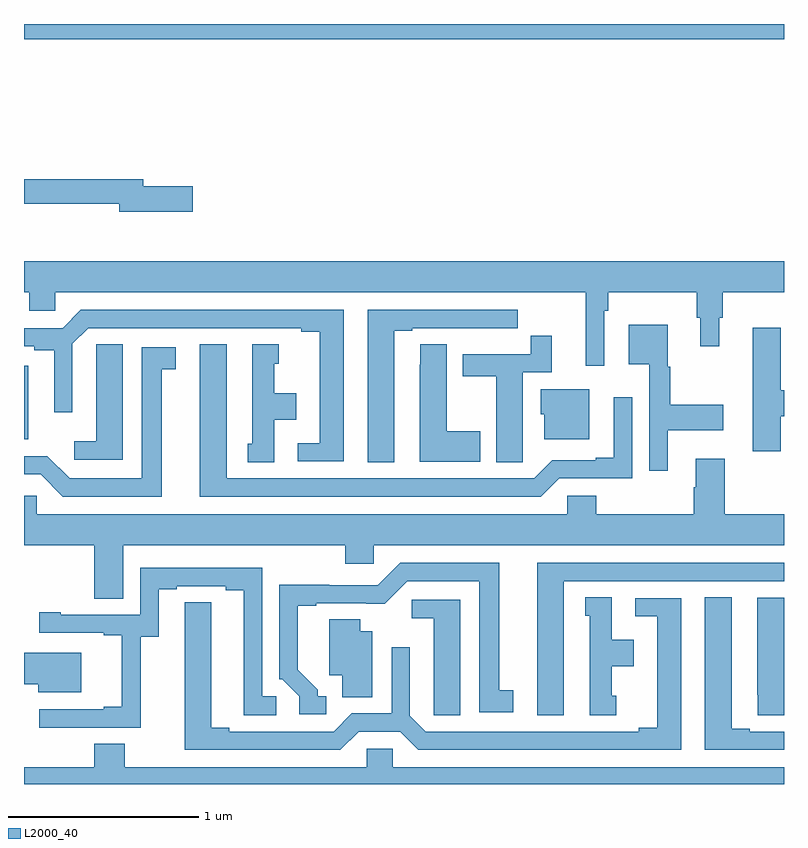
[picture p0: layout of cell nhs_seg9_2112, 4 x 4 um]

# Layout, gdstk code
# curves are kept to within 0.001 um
import gdstk
lib = gdstk.Library(unit=1e-6, precision=1e-09)
def R(c, l, rs):  # rectangles x0, y0, x1, y1
    for r in rs: c.add(gdstk.rectangle(r[:2], r[2:], *l))
def P(c, l, *ps):  # polygons
    for p in ps: c.add(gdstk.Polygon(p, *l))
L2000_40 = (2000, 40)

nhs_seg9_2112 = lib.new_cell('nhs_seg9_2112')
R(nhs_seg9_2112, L2000_40, [(231,1194.314,231.022,1194.702), (231,1196.42,235,1196.5)])
P(nhs_seg9_2112, L2000_40, [(231.889,1195.646),(231.628,1195.646),(231.628,1195.682),(231,1195.682),(231,1195.554),(231.5,1195.554),(231.5,1195.511),(231.889,1195.511)],
  [(231,1195.088),(231.027,1195.088),(231.027,1194.99),(231.165,1194.99),(231.165,1195.088),(233.957,1195.088),(233.957,1194.702),(234.054,1194.702),(234.054,1194.992),(234.074,1194.992),(234.074,1195.088),(234.541,1195.088),(234.541,1194.954),(234.56,1194.954),(234.56,1194.804),(234.658,1194.804),(234.658,1194.954),(234.677,1194.954),(234.677,1195.088),(235,1195.088),(235,1195.252),(231,1195.252)],
  [(232.684,1194.996),(231.299,1194.996),(231.203,1194.9),(231,1194.9),(231,1194.804),(231.054,1194.804),(231.054,1194.784),(231.158,1194.784),(231.158,1194.456),(231.255,1194.456),(231.255,1194.816),(231.339,1194.9),(232.46,1194.9),(232.46,1194.88),(232.556,1194.88),(232.556,1194.294),(232.44,1194.294),(232.44,1194.198),(232.684,1194.198)],
  [(232.948,1194.885),(233.044,1194.885),(233.044,1194.9),(233.32,1194.9),(233.32,1194.899),(233.486,1194.899),(233.486,1194.9),(233.599,1194.9),(233.599,1194.996),(232.808,1194.996),(232.808,1194.193),(232.948,1194.193)],
  [(234.388,1194.362),(234.679,1194.362),(234.679,1194.497),(234.4,1194.497),(234.4,1194.696),(234.388,1194.696),(234.388,1194.916),(234.182,1194.916),(234.182,1194.71),(234.291,1194.71),(234.291,1194.15),(234.388,1194.15)],
  [(234.983,1194.436),(235,1194.436),(235,1194.572),(234.983,1194.572),(234.983,1194.901),(234.836,1194.901),(234.836,1194.252),(234.983,1194.252)],
  [(233.625,1194.304),(233.626,1194.304),(233.626,1194.666),(233.777,1194.666),(233.777,1194.859),(233.668,1194.859),(233.668,1194.762),(233.309,1194.762),(233.309,1194.646),(233.486,1194.646),(233.486,1194.193),(233.625,1194.193)],
  [(233.401,1194.357),(233.224,1194.357),(233.224,1194.815),(233.085,1194.815),(233.085,1194.707),(233.084,1194.707),(233.084,1194.197),(233.401,1194.197)],
  [(231.52,1194.815),(231.381,1194.815),(231.381,1194.707),(231.38,1194.707),(231.38,1194.304),(231.264,1194.304),(231.264,1194.207),(231.52,1194.207)],
  [(233.817,1194.108),(234.201,1194.108),(234.201,1194.535),(234.104,1194.535),(234.104,1194.217),(234.008,1194.217),(234.008,1194.204),(233.781,1194.204),(233.685,1194.108),(232.066,1194.108),(232.066,1194.814),(231.926,1194.814),(231.926,1194.012),(233.721,1194.012)],
  [(232.318,1194.416),(232.432,1194.416),(232.432,1194.556),(232.318,1194.556),(232.318,1194.711),(232.342,1194.711),(232.342,1194.814),(232.202,1194.814),(232.202,1194.291),(232.178,1194.291),(232.178,1194.193),(232.318,1194.193)],
  [(231.724,1194.682),(231.799,1194.682),(231.799,1194.798),(231.62,1194.798),(231.62,1194.108),(231.24,1194.108),(231.123,1194.225),(231,1194.225),(231,1194.129),(231.087,1194.129),(231.204,1194.012),(231.724,1194.012)],
  [(233.974,1194.577),(233.72,1194.577),(233.72,1194.447),(233.738,1194.447),(233.738,1194.314),(233.974,1194.314)],
  [(235,1193.92),(234.689,1193.92),(234.689,1194.211),(234.536,1194.211),(234.536,1194.062),(234.524,1194.062),(234.524,1193.92),(234.011,1193.92),(234.011,1194.018),(233.859,1194.018),(233.859,1193.92),(231.066,1193.92),(231.066,1194.018),(231,1194.018),(231,1193.756),(231.371,1193.756),(231.371,1193.476),(231.523,1193.476),(231.523,1193.756),(232.691,1193.756),(232.691,1193.658),(232.842,1193.658),(232.842,1193.756),(235,1193.756)],
  [(233.842,1193.568),(235,1193.568),(235,1193.664),(233.702,1193.664),(233.702,1192.863),(233.842,1192.863)],
  [(232.591,1192.962),(232.546,1192.962),(232.546,1192.997),(232.441,1193.102),(232.441,1193.439),(232.537,1193.439),(232.537,1193.451),(232.898,1193.45),(233.016,1193.568),(233.396,1193.568),(233.396,1192.878),(233.575,1192.878),(233.575,1192.994),(233.5,1192.994),(233.5,1193.664),(232.98,1193.664),(232.863,1193.547),(232.607,1193.547),(232.607,1193.549),(232.344,1193.549),(232.344,1193.052),(232.359,1193.052),(232.449,1192.962),(232.449,1192.866),(232.591,1192.866)],
  [(231.615,1193.275),(231.709,1193.275),(231.709,1193.526),(231.805,1193.526),(231.805,1193.541),(232.061,1193.541),(232.061,1193.521),(232.157,1193.521),(232.157,1192.861),(232.327,1192.861),(232.327,1192.962),(232.254,1192.962),(232.254,1193.637),(231.612,1193.637),(231.612,1193.391),(231.193,1193.391),(231.193,1193.404),(231.081,1193.404),(231.081,1193.295),(231.419,1193.295),(231.419,1193.283),(231.515,1193.283),(231.515,1192.906),(231.419,1192.906),(231.419,1192.893),(231.081,1192.893),(231.081,1192.797),(231.615,1192.797)],
  [(235,1192.776),(234.82,1192.776),(234.82,1192.791),(234.724,1192.791),(234.724,1193.483),(234.584,1193.483),(234.584,1192.68),(235,1192.68)],
  [(234.118,1192.965),(234.094,1192.965),(234.094,1193.12),(234.208,1193.12),(234.208,1193.26),(234.094,1193.26),(234.094,1193.483),(233.954,1193.483),(233.954,1193.385),(233.978,1193.385),(233.978,1192.863),(234.118,1192.863)],
  [(235,1193.479),(234.86,1193.479),(234.86,1192.969),(234.861,1192.969),(234.861,1192.861),(235,1192.861)],
  [(232.761,1192.776),(232.979,1192.776),(233.075,1192.68),(234.46,1192.68),(234.46,1193.478),(234.216,1193.478),(234.216,1193.382),(234.332,1193.382),(234.332,1192.796),(234.236,1192.796),(234.236,1192.776),(233.115,1192.776),(233.031,1192.86),(233.031,1193.221),(232.935,1193.221),(232.935,1192.872),(232.725,1192.872),(232.629,1192.776),(232.081,1192.776),(232.081,1192.796),(231.985,1192.796),(231.985,1193.456),(231.846,1193.456),(231.845,1192.68),(232.665,1192.68)],
  [(233.296,1193.469),(233.04,1193.469),(233.04,1193.372),(233.156,1193.372),(233.156,1192.969),(233.157,1192.969),(233.157,1192.861),(233.296,1192.861)],
  [(232.834,1193.305),(232.771,1193.305),(232.771,1193.366),(232.607,1193.366),(232.607,1193.072),(232.676,1193.072),(232.676,1192.957),(232.834,1192.957)],
  [(231.301,1193.191),(231,1193.191),(231,1193.026),(231.074,1193.026),(231.074,1192.982),(231.301,1192.982)],
  [(235,1192.588),(232.941,1192.588),(232.941,1192.686),(232.803,1192.686),(232.803,1192.588),(231.531,1192.588),(231.531,1192.712),(231.371,1192.712),(231.371,1192.588),(231,1192.588),(231,1192.5),(235,1192.5)])

lib.write_gds('nhs_seg9_2112.gds')
